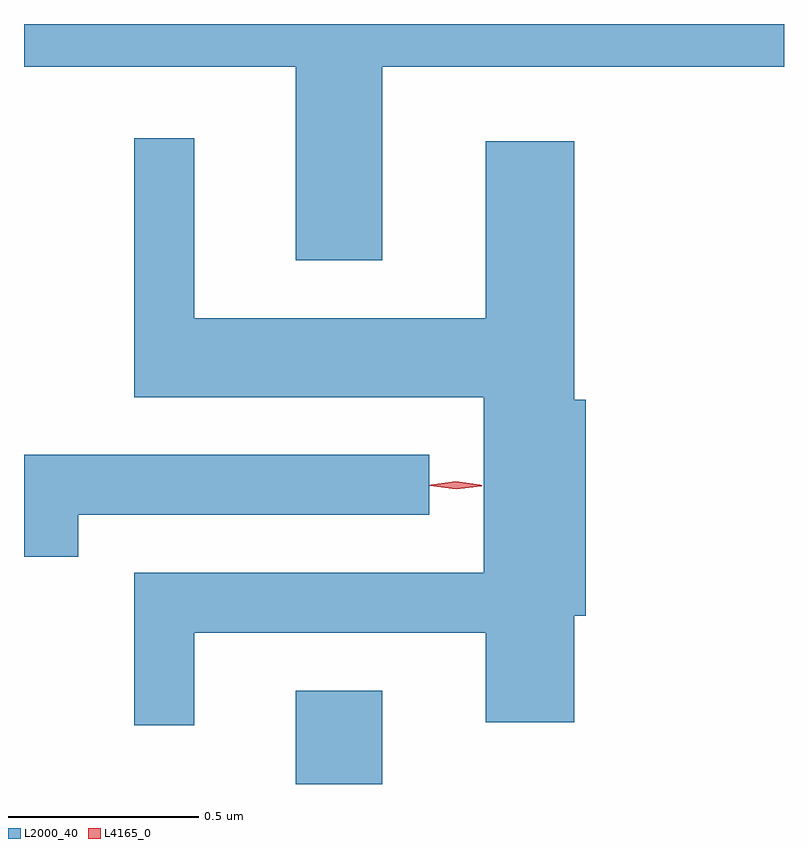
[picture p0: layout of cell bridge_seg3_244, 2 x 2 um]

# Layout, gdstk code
import gdstk
lib = gdstk.Library(unit=1e-6, precision=1e-09)
def R(c, l, rs):  # rectangles x0, y0, x1, y1
    for r in rs: c.add(gdstk.rectangle(r[:2], r[2:], *l))
def P(c, l, *ps):  # polygons
    for p in ps: c.add(gdstk.Polygon(p, *l))
L2000_40 = (2000, 40)
L4165_0 = (4165, 0)

bridge_seg3_244 = lib.new_cell('bridge_seg3_244')
R(bridge_seg3_244, L2000_40, [(911.471,1139.668,911.699,1139.914)])
P(bridge_seg3_244, L2000_40, [(911.699,1141.556),(912.756,1141.556),(912.756,1141.668),(910.756,1141.668),(910.756,1141.556),(911.471,1141.556),(911.471,1141.046),(911.699,1141.046)],
  [(911.204,1140.066),(911.971,1140.066),(911.971,1139.831),(912.204,1139.831),(912.204,1140.111),(912.234,1140.111),(912.234,1140.679),(912.204,1140.679),(912.204,1141.359),(911.971,1141.359),(911.971,1140.894),(911.204,1140.894),(911.204,1141.368),(911.046,1141.368),(911.046,1140.686),(911.966,1140.686),(911.966,1140.224),(911.046,1140.224),(911.046,1139.823),(911.204,1139.823)],
  [(910.899,1140.376),(911.823,1140.376),(911.823,1140.534),(910.756,1140.534),(910.756,1140.266),(910.899,1140.266)])
P(bridge_seg3_244, L4165_0, [(911.893,1140.444),(911.824,1140.453),(911.824,1140.454),(911.824,1140.454),(911.893,1140.463),(911.961,1140.454),(911.962,1140.453),(911.961,1140.452)],
  [(911.892,1140.445),(911.827,1140.454),(911.827,1140.455),(911.827,1140.456),(911.892,1140.465),(911.957,1140.456),(911.957,1140.455),(911.957,1140.454)])

lib.write_gds('bridge_seg3_244.gds')
